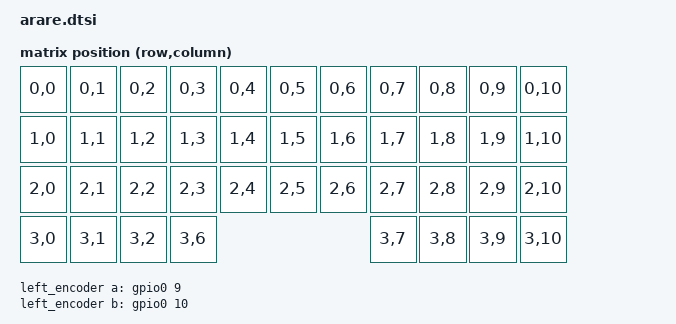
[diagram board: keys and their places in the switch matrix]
/*
 * arare keyboard - shared hardware definition
 *
 * Left  half: 6 cols × 4 rows = 24 positions, 21 keys (row3: COL0-2 only)
 * Right half: 5 cols × 4 rows = 20 positions, 20 keys (col-offset=6)
 * Total: 41 keys
 *
 * GPIO pin mapping (SuperMini NRF52840):
 *   ROW0-3:  P0.02, P0.03, P0.04, P0.05  (both halves)
 *   L COL0-5: P0.28, P0.29, P0.30, P0.31, P1.00, P1.02
 *   R COL0-4: P0.28, P0.29, P0.30, P0.31, P1.00
 *   ENC A/B:  P0.09, P0.10  (left)
 *   ENC SW:   P0.11         (left, optional key)
 *   L TP I2C: SDA=P0.12 SCL=P0.13 INT=P0.14 RST=P0.15  (IQS5xx)
 *   R TP I2C: SDA=P0.12 SCL=P0.13 INT=P0.14 RST=P0.15  (IQS5xx)
 *   PMW3610:  SCK=P0.24 SDIO=P0.20 NCS=P0.17 MOT=P0.16 (right)
 */

#include <dt-bindings/zmk/matrix_transform.h>

/ {
    chosen {
        zmk,kscan = &kscan0;
        zmk,matrix-transform = &default_transform;
    };

    default_transform: keymap_transform_0 {
        compatible = "zmk,matrix-transform";
        columns = <11>;
        rows = <4>;
        /*
         * Layout (L=left, R=right):
         * Row 0: L0  L1  L2  L3  L4  L5  | R0  R1  R2  R3  R4
         * Row 1: L0  L1  L2  L3  L4  L5  | R0  R1  R2  R3  R4
         * Row 2: L0  L1  L2  L3  L4  L5  | R0  R1  R2  R3  R4
         * Row 3: L0  L1  L2              | R0  R1  R2  R3  R4
         */
        map = <
            RC(0,0) RC(0,1) RC(0,2) RC(0,3) RC(0,4) RC(0,5)    RC(0,6) RC(0,7) RC(0,8) RC(0,9) RC(0,10)
            RC(1,0) RC(1,1) RC(1,2) RC(1,3) RC(1,4) RC(1,5)    RC(1,6) RC(1,7) RC(1,8) RC(1,9) RC(1,10)
            RC(2,0) RC(2,1) RC(2,2) RC(2,3) RC(2,4) RC(2,5)    RC(2,6) RC(2,7) RC(2,8) RC(2,9) RC(2,10)
            RC(3,0) RC(3,1) RC(3,2)                             RC(3,6) RC(3,7) RC(3,8) RC(3,9) RC(3,10)
        >;
    };

    kscan0: kscan {
        compatible = "zmk,kscan-gpio-matrix";
        wakeup-source;
        diode-direction = "row2col";
    };

    left_encoder: encoder_left {
        compatible = "alps,ec11";
        a-gpios = <&gpio0 9  (GPIO_ACTIVE_HIGH | GPIO_PULL_UP)>;
        b-gpios = <&gpio0 10 (GPIO_ACTIVE_HIGH | GPIO_PULL_UP)>;
        steps = <80>;
        status = "disabled";
    };

    sensors: sensors {
        compatible = "zmk,keymap-sensors";
        sensors = <&left_encoder>;
        triggers-per-rotation = <20>;
    };
};
